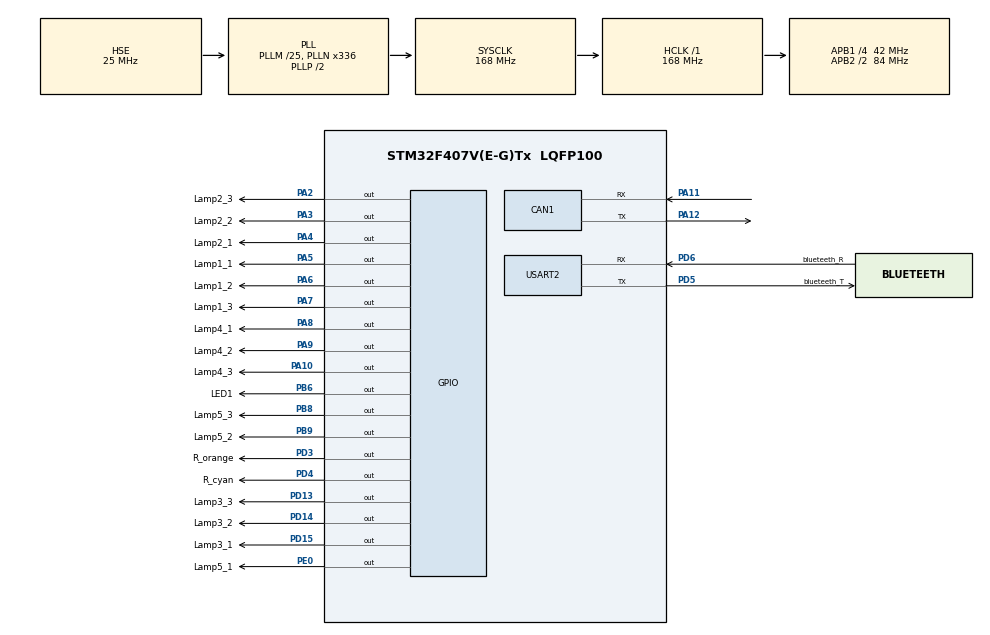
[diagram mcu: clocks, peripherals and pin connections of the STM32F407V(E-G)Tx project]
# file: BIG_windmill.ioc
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Mcu.Family=STM32F4
PA2.GPIO_PuPd=GPIO_PULLUP
FREERTOS.Queues01=RD,16,uint32_t,0,Dynamic,NULL,NULL
PH0-OSC_IN.Signal=RCC_OSC_IN
VP_SYS_VS_tim6.Mode=TIM6
RCC.CortexFreq_Value=168000000
PD3.PinState=GPIO_PIN_RESET
NVIC.TIM6_DAC_IRQn=true\:0\:0\:false\:false\:true\:false\:false\:true
PA10.GPIO_PuPd=GPIO_PULLUP
PD15.GPIO_Speed=GPIO_SPEED_FREQ_VERY_HIGH
PA3.GPIO_PuPd=GPIO_PULLUP
PA2.GPIO_Speed=GPIO_SPEED_FREQ_VERY_HIGH
PA11.Mode=Master
PA6.GPIO_Label=Lamp1_2
PB6.GPIO_Label=LED1
PA3.GPIO_Speed=GPIO_SPEED_FREQ_VERY_HIGH
PD3.GPIO_Speed=GPIO_SPEED_FREQ_VERY_HIGH
PD6.GPIO_Label=blueteeth_R
RCC.SYSCLKSource=RCC_SYSCLKSOURCE_PLLCLK
ProjectManager.StackSize=0x400
PD13.Signal=GPIO_Output
PD14.GPIO_Speed=GPIO_SPEED_FREQ_VERY_HIGH
PA12.Signal=CAN1_TX
Dma.USART2_RX.0.Priority=DMA_PRIORITY_VERY_HIGH
NVIC.CAN1_TX_IRQn=true\:0\:0\:false\:false\:true\:false\:true\:true
Dma.USART2_RX.0.PeriphDataAlignment=DMA_PDATAALIGN_BYTE
RCC.HCLKFreq_Value=168000000
PD4.Signal=GPIO_Output
RCC.APB2TimFreq_Value=168000000
PB6.Signal=GPIO_Output
RCC.AHBFreq_Value=168000000
PH0-OSC_IN.Mode=HSE-External-Oscillator
PD5.Mode=Asynchronous
RCC.HSE_VALUE=25000000
PA4.GPIO_PuPd=GPIO_PULLUP
PA4.GPIO_Speed=GPIO_SPEED_FREQ_VERY_HIGH
PA6.GPIO_PuPd=GPIO_PULLUP
Dma.USART2_RX.0.MemDataAlignment=DMA_MDATAALIGN_BYTE
PA14.Mode=Serial_Wire
TIM3.Prescaler=8-1
PA5.GPIO_PuPd=GPIO_PULLUP
PA10.GPIO_Label=Lamp4_3
Dma.USART2_RX.0.Instance=DMA1_Stream5
PD14.GPIO_PuPd=GPIO_PULLUP
PA8.Signal=GPIO_Output
VP_FREERTOS_VS_CMSIS_V1.Mode=CMSIS_V1
PH1-OSC_OUT.Mode=HSE-External-Oscillator
PD13.GPIO_Label=Lamp3_3
Mcu.Package=LQFP100
PB9.Signal=GPIO_Output
PA6.Signal=GPIO_Output
NVIC.TimeBase=TIM6_DAC_IRQn
Dma.USART2_RX.0.PeriphInc=DMA_PINC_DISABLE
USART2.VirtualMode=VM_ASYNC
Dma.USART2_RX.0.FIFOMode=DMA_FIFOMODE_DISABLE
PD5.GPIO_Label=blueteeth_T
PD15.GPIO_PuPd=GPIO_PULLUP
PA2.GPIO_Label=Lamp2_3
NVIC.TimeBaseIP=TIM6
PA10.Signal=GPIO_Output
PB9.GPIO_PuPd=GPIO_PULLUP
PE0.GPIO_Label=Lamp5_1
PA10.GPIO_Speed=GPIO_SPEED_FREQ_VERY_HIGH
RCC.APB2CLKDivider=RCC_HCLK_DIV2
PB9.GPIO_Speed=GPIO_SPEED_FREQ_VERY_HIGH
RCC.APB1TimFreq_Value=84000000
PD3.GPIO_Label=R_orange
PD3.GPIO_PuPd=GPIO_PULLUP
PA6.GPIO_Speed=GPIO_SPEED_FREQ_VERY_HIGH
PD6.Signal=USART2_RX
Dma.Request0=USART2_RX
PA4.GPIO_Label=Lamp2_1
PA8.GPIO_Speed=GPIO_SPEED_FREQ_VERY_HIGH
PD15.Signal=GPIO_Output
VP_TIM3_VS_ClockSourceINT.Mode=Internal
PA3.Signal=GPIO_Output
CAN1.CalculateTimeQuantum=380.95238095238096
PE0.GPIO_PuPd=GPIO_PULLUP
RCC.PLLSourceVirtual=RCC_PLLSOURCE_HSE
FREERTOS.Tasks01=RUN,1,128,TaskRUN,Default,NULL,Dynamic,NULL,NULL;MSG,2,128,TaskMSG,Default,NULL,Dynamic,NULL,NULL;flow_arrow,2,128,Task_flow_arrow,Default,NULL,Dynamic,NULL,NULL
PD15.GPIO_Label=Lamp3_1
PB9.GPIO_Label=Lamp5_2
PA9.GPIO_Label=Lamp4_2
PB6.GPIO_PuPd=GPIO_NOPULL
PD3.Signal=GPIO_Output
PB8.GPIO_PuPd=GPIO_PULLUP
Dma.USART2_RX.0.Direction=DMA_PERIPH_TO_MEMORY
PD5.Signal=USART2_TX
RCC.APB1CLKDivider=RCC_HCLK_DIV4
PD6.Mode=Asynchronous
PA9.GPIO_PuPd=GPIO_PULLUP
NVIC.USART2_IRQn=true\:0\:0\:true\:false\:true\:false\:true\:true
Dma.USART2_RX.0.Mode=DMA_CIRCULAR
PE0.GPIO_Speed=GPIO_SPEED_FREQ_VERY_HIGH
PA13.Signal=SYS_JTMS-SWDIO
PD4.PinState=GPIO_PIN_RESET
PB8.GPIO_Label=Lamp5_3
PD4.GPIO_PuPd=GPIO_PULLUP
PA8.GPIO_Label=Lamp4_1
ProjectManager.TargetToolchain=MDK-ARM V5
NVIC.DMA1_Stream5_IRQn=true\:0\:0\:false\:false\:true\:true\:false\:true
PA9.Signal=GPIO_Output
RCC.LSE_VALUE=32768
PA7.GPIO_PuPd=GPIO_PULLUP
PA5.Signal=GPIO_Output
board=custom
PD13.GPIO_Speed=GPIO_SPEED_FREQ_VERY_HIGH
RCC.VCOOutputFreq_Value=336000000
PA7.GPIO_Speed=GPIO_SPEED_FREQ_VERY_HIGH
RCC.APB2Freq_Value=84000000
PD4.GPIO_Label=R_cyan
PD4.GPIO_Speed=GPIO_SPEED_FREQ_VERY_HIGH
PH1-OSC_OUT.Signal=RCC_OSC_OUT
PD13.GPIO_PuPd=GPIO_PULLUP
PD14.GPIO_Label=Lamp3_2
PA13.Mode=Serial_Wire
PE0.Signal=GPIO_Output
Mcu.Name=STM32F407V(E-G)Tx
Dma.USART2_RX.0.MemInc=DMA_MINC_ENABLE
PA2.Signal=GPIO_Output
PD14.Signal=GPIO_Output
RCC.48MHZClocksFreq_Value=84000000
PA4.Signal=GPIO_Output
RCC.SYSCLKFreq_VALUE=168000000
PA7.GPIO_Label=Lamp1_3
PA12.Mode=Master
PA5.GPIO_Label=Lamp1_1
PB6.PinState=GPIO_PIN_SET
PA11.Signal=CAN1_RX
PA14.Signal=SYS_JTCK-SWCLK
ProjectManager.HeapSize=0x200
PD3.GPIO_ModeDefaultOutputPP=GPIO_MODE_OUTPUT_PP
RCC.HSI_VALUE=16000000
PA8.GPIO_PuPd=GPIO_PULLUP
PA5.GPIO_Speed=GPIO_SPEED_FREQ_VERY_HIGH
NVIC.PriorityGroup=NVIC_PRIORITYGROUP_4
RCC.PLLM=25
RCC.PLLN=336
PA9.GPIO_Speed=GPIO_SPEED_FREQ_VERY_HIGH
PB8.Signal=GPIO_Output
PB6.GPIO_Speed=GPIO_SPEED_FREQ_VERY_HIGH
RCC.APB1Freq_Value=42000000
PB8.GPIO_Speed=GPIO_SPEED_FREQ_VERY_HIGH
NVIC.CAN1_RX0_IRQn=true\:0\:0\:false\:false\:true\:false\:true\:true
PA3.GPIO_Label=Lamp2_2
PA7.Signal=GPIO_Output

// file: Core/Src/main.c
/* USER CODE BEGIN Header */
/**
  ******************************************************************************
  * @file           : main.c
  * @brief          : Main program body
  ******************************************************************************
  * @attention
  *
  * <h2><center>&copy; Copyright (c) 2021 STMicroelectronics.
  * All rights reserved.</center></h2>
  *
  * This software component is licensed by ST under BSD 3-Clause license,
  * the "License"; You may not use this file except in compliance with the
  * License. You may obtain a copy of the License at:
  *                        opensource.org/licenses/BSD-3-Clause
  *
  ******************************************************************************
  */
/* USER CODE END Header */
#include "main.h"
#include "cmsis_os.h"
#include "can.h"
#include "dma.h"
#include "tim.h"
#include "usart.h"
#include "gpio.h"

/* USER CODE BEGIN Includes */
#include "windmill.h"
#include "ws2812.h"
/* USER CODE END Includes */

void SystemClock_Config(void);
void MX_FREERTOS_Init(void);

int main(void)
{

  /* MCU Configuration--------------------------------------------------------*/

  /* Reset of all peripherals, Initializes the Flash interface and the Systick. */
  HAL_Init();

  /* Configure the system clock */
  SystemClock_Config();

  /* Initialize all configured peripherals */
  MX_GPIO_Init();
  MX_DMA_Init();
  MX_CAN1_Init();
  MX_USART2_UART_Init();
  MX_TIM3_Init();
  /* USER CODE BEGIN 2 */
  CAN1_FilterInit();
  UART2_RxStart();
	HAL_Delay(100);
  /* USER CODE END 2 */

  /* Call init function for freertos objects (in freertos.c) */
  MX_FREERTOS_Init();
  /* Start scheduler */
  osKernelStart();

  /* We should never get here as control is now taken by the scheduler */
  /* Infinite loop */
  while (1)
  {

  }
}

void SystemClock_Config(void)
{
  RCC_OscInitTypeDef RCC_OscInitStruct = {0};
  RCC_ClkInitTypeDef RCC_ClkInitStruct = {0};

  /** Configure the main internal regulator output voltage
  */
  __HAL_RCC_PWR_CLK_ENABLE();
  __HAL_PWR_VOLTAGESCALING_CONFIG(PWR_REGULATOR_VOLTAGE_SCALE1);
  /** Initializes the RCC Oscillators according to the specified parameters
  * in the RCC_OscInitTypeDef structure.
  */
  RCC_OscInitStruct.OscillatorType = RCC_OSCILLATORTYPE_HSE;
  RCC_OscInitStruct.HSEState = RCC_HSE_ON;
  RCC_OscInitStruct.PLL.PLLState = RCC_PLL_ON;
  RCC_OscInitStruct.PLL.PLLSource = RCC_PLLSOURCE_HSE;
  RCC_OscInitStruct.PLL.PLLM = 25;
  RCC_OscInitStruct.PLL.PLLN = 336;
  RCC_OscInitStruct.PLL.PLLP = RCC_PLLP_DIV2;
  RCC_OscInitStruct.PLL.PLLQ = 4;
  if (HAL_RCC_OscConfig(&RCC_OscInitStruct) != HAL_OK)
  {
    Error_Handler();
  }
  /** Initializes the CPU, AHB and APB buses clocks
  */
  RCC_ClkInitStruct.ClockType = RCC_CLOCKTYPE_HCLK|RCC_CLOCKTYPE_SYSCLK
                              |RCC_CLOCKTYPE_PCLK1|RCC_CLOCKTYPE_PCLK2;
  RCC_ClkInitStruct.SYSCLKSource = RCC_SYSCLKSOURCE_PLLCLK;
  RCC_ClkInitStruct.AHBCLKDivider = RCC_SYSCLK_DIV1;
  RCC_ClkInitStruct.APB1CLKDivider = RCC_HCLK_DIV4;
  RCC_ClkInitStruct.APB2CLKDivider = RCC_HCLK_DIV2;

  if (HAL_RCC_ClockConfig(&RCC_ClkInitStruct, FLASH_LATENCY_5) != HAL_OK)
  {
    Error_Handler();
  }
}

void HAL_TIM_PeriodElapsedCallback(TIM_HandleTypeDef *htim)
{
  if (htim->Instance == TIM6) {
    HAL_IncTick();
  }
}

void Error_Handler(void)
{
}

/************************ (C) COPYRIGHT STMicroelectronics *****END OF FILE****/

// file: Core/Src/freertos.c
/* USER CODE BEGIN Header */
/**
  ******************************************************************************
  * File Name          : freertos.c
  * Description        : Code for freertos applications
  ******************************************************************************
  * @attention
  *
  * <h2><center>&copy; Copyright (c) 2021 STMicroelectronics.
  * All rights reserved.</center></h2>
  *
  * This software component is licensed by ST under Ultimate Liberty license
  * SLA0044, the "License"; You may not use this file except in compliance with
  * the License. You may obtain a copy of the License at:
  *                             www.st.com/SLA0044
  *
  ******************************************************************************
  */
/* USER CODE END Header */

#include "FreeRTOS.h"
#include "task.h"
#include "main.h"
#include "cmsis_os.h"

/* USER CODE BEGIN Includes */
#include "usart.h"
#include "dr16.h"
#include "windmill.h"
/* USER CODE END Includes */

/* USER CODE BEGIN Variables */
//osPoolId RDmemHandle;
/* USER CODE END Variables */
osThreadId RUNHandle;
osThreadId MSGHandle;
osThreadId flow_arrowHandle;
osMessageQId RDHandle;

void TaskRUN(void const * argument);
void TaskMSG(void const * argument);
void Task_flow_arrow(void const * argument);

void MX_FREERTOS_Init(void); /* (MISRA C 2004 rule 8.1) */

/* GetIdleTaskMemory prototype (linked to static allocation support) */
void vApplicationGetIdleTaskMemory( StaticTask_t **ppxIdleTaskTCBBuffer, StackType_t **ppxIdleTaskStackBuffer, uint32_t *pulIdleTaskStackSize );

/* USER CODE BEGIN GET_IDLE_TASK_MEMORY */
static StaticTask_t xIdleTaskTCBBuffer;
static StackType_t xIdleStack[configMINIMAL_STACK_SIZE];

void vApplicationGetIdleTaskMemory( StaticTask_t **ppxIdleTaskTCBBuffer, StackType_t **ppxIdleTaskStackBuffer, uint32_t *pulIdleTaskStackSize )
{
  *ppxIdleTaskTCBBuffer = &xIdleTaskTCBBuffer;
  *ppxIdleTaskStackBuffer = &xIdleStack[0];
  *pulIdleTaskStackSize = configMINIMAL_STACK_SIZE;
  /* place for user code */
}
/* USER CODE END GET_IDLE_TASK_MEMORY */

void MX_FREERTOS_Init(void) {
  /* USER CODE BEGIN Init */
//  osPoolDef(RDmem,16,RemoteData_t);
//  RDmemHandle = osPoolCreate(osPool(RDmem));
  /* USER CODE END Init */

  /* Create the queue(s) */
  /* definition and creation of RD */
  osMessageQDef(RD, 16, uint32_t);
  RDHandle = osMessageCreate(osMessageQ(RD), NULL);

  /* Create the thread(s) */
  /* definition and creation of RUN */
  osThreadDef(RUN, TaskRUN, osPriorityAboveNormal, 0, 128);
  RUNHandle = osThreadCreate(osThread(RUN), NULL);

  /* definition and creation of MSG */
  osThreadDef(MSG, TaskMSG, osPriorityHigh, 0, 128);
  MSGHandle = osThreadCreate(osThread(MSG), NULL);

  /* definition and creation of flow_arrow */
  osThreadDef(flow_arrow, Task_flow_arrow, osPriorityHigh, 0, 128);
  flow_arrowHandle = osThreadCreate(osThread(flow_arrow), NULL);

}

void TaskRUN(void const * argument)
{
  /* USER CODE BEGIN TaskRUN */
  /* Infinite loop */
	param_init();
	R_light();//下载到工程板单独用（真的抽象）
	WS2812_reset();
  for(;;)
  {
		windmill_Process();
    osDelay(1);
  }
  /* USER CODE END TaskRUN */
}

void TaskMSG(void const * argument)
{
  /* USER CODE BEGIN TaskMSG */
	uint8_t last_buf = 0;
  /* Infinite loop */
  for(;;)
  {
    if(last_buf != uart2_buf)queue_insert(uart2_buf);
		last_buf = uart2_buf;//to recive the message, maybe have better way
    osDelay(10);
  }
  /* USER CODE END TaskMSG */
}

void Task_flow_arrow(void const * argument)
{
  /* USER CODE BEGIN Task_flow_arrow */
  /* Infinite loop */
  for(;;)
  {
		if(armour_state)//before the flow effect,lighten the armour
		{
			armour();
			armour_state = 0;
		}
		if(flow_state)Run_led();
    osDelay(1);

  }
  /* USER CODE END Task_flow_arrow */
}

/************************ (C) COPYRIGHT STMicroelectronics *****END OF FILE****/
